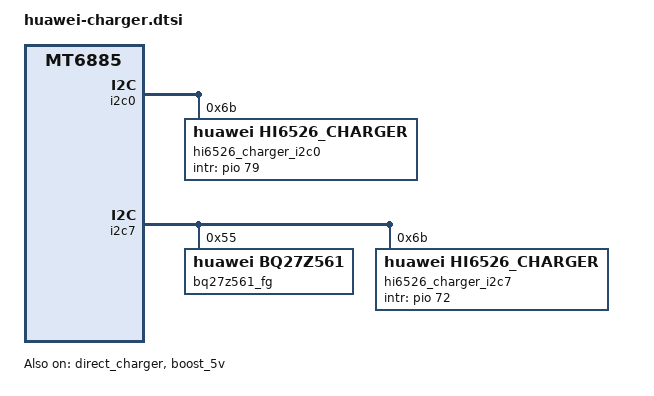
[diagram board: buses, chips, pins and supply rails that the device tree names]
#include "../huawei_charger/mt6885_yor_huawei_charger.dtsi"
&charger {
	bc12_charger = <0>; /* usb switch do bc12 */
};

&i2c0 {
	#address-cells = <1>;
	#size-cells = <0>;
	bq25970@65 {
		status = "disabled";
	};

	hi6526_charger_i2c0@6B{
		compatible = "huawei,hi6526_charger";
		reg = <0x6B>;
		dbg_check_en = <1>;
		intr_gpio_num = <79>; /* direct defined GPIO num */
		intr_gpio = <&pio 79 0x0>;
		bat_comp = <60>;
		vclamp = <192>;
		fcp_support = <1>;
		scp_support = <1>;
		lvc_ibat_regulator = <12200>;
		lvc_vbat_regulator = <4500>;
		lvc_vout_regulator = <4550>;
		lvc_ibus_regulator = <5600>;
		sc_ibat_regulator = <12200>;
		sc_vbat_regulator = <4500>;
		sc_vout_regulator = <4550>;
		sc_ibus_regulator = <5000>;
		lvc_vusb2vbus_drop_en = <1>;
		sc_vusb2vbus_drop_en = <1>;
		/* loop mode must be turned off, if temperature channels need to be acquired */
		adc_single_mode_en = <0>;
		adc_tsbat_support = <0>;
		vusb_uv_flag = <1>;
		r_coul_mohm = <1>;
		ic_role = <1>;
		status = "ok";
	};
};

&i2c7 {
	#address-cells = <1>;
	#size-cells = <0>;
	fairchild_fsa9685@25 {
		status = "disabled";
	};
	bq25970@65 {
		status = "disabled";
	};

	bq27z561_fg@55 {
		reg = <0x55>;
		compatible = "huawei,bq27z561";
		status = "ok";
	};

	hi6526_charger_i2c7@6B{
		compatible = "huawei,hi6526_charger";
		reg = <0x6B>;
		dbg_check_en = <1>;
		bat_comp = <60>;
		vclamp = <192>;
		fcp_support = <1>;
		scp_support = <1>;
		lvc_ibat_regulator = <12200>;
		lvc_vbat_regulator = <4500>;
		lvc_vout_regulator = <4550>;
		lvc_ibus_regulator = <5600>;
		sc_ibat_regulator = <12200>;
		sc_vbat_regulator = <4500>;
		sc_vout_regulator = <4550>;
		sc_ibus_regulator = <5600>;
		lvc_vusb2vbus_drop_en = <1>;
		sc_vusb2vbus_drop_en = <1>;
		/* loop mode must be turned off, if temperature channels need to be acquired */
		adc_single_mode_en = <0>;
		adc_tsbat_support = <0>;
		vusb_uv_flag = <1>;
		intr_gpio_num = <72>; /* direct defined GPIO num */
		intr_gpio = <&pio 72 0x0>;
		r_coul_mohm = <1>;
		ic_role = <0>;
		status = "ok";
	};
};


&direct_charger {
	status = "ok";
};

&huawei_batt_info {
	shield_ct_sign = <1>;
};

&boost_5v {
	boost_5v_use_common_pmic = <1>;
	status = "ok";
};
